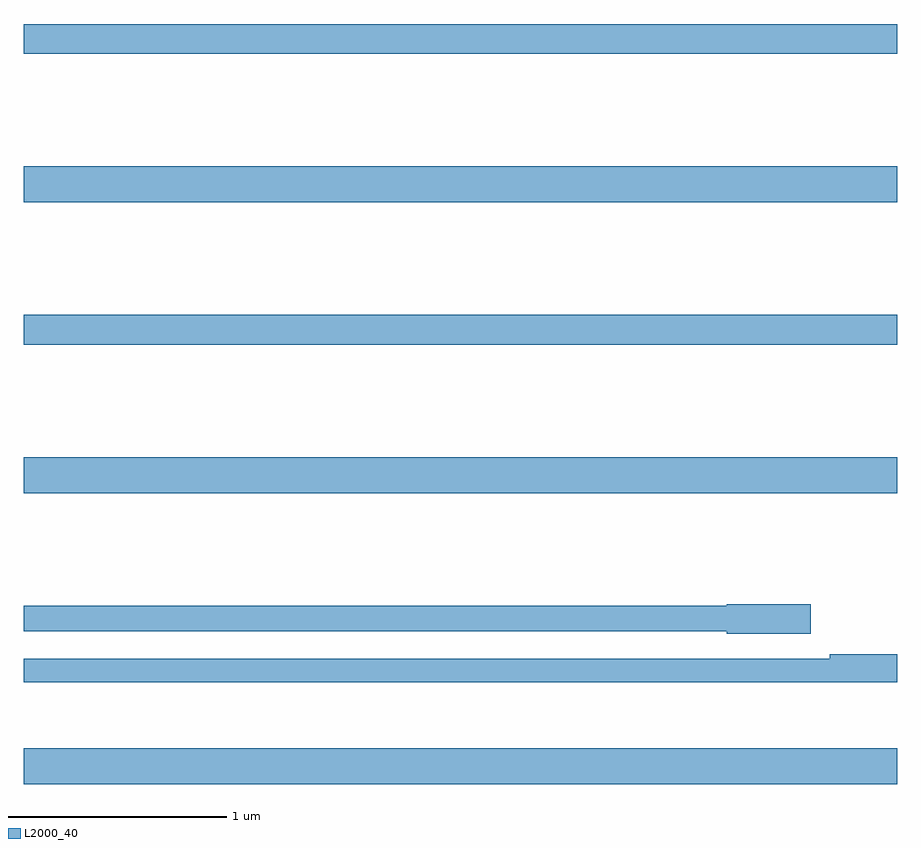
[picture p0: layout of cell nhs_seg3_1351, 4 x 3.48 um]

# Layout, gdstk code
import gdstk
lib = gdstk.Library(unit=1e-6, precision=1e-09)
def R(c, l, rs):  # rectangles x0, y0, x1, y1
    for r in rs: c.add(gdstk.rectangle(r[:2], r[2:], *l))
def A(c, l, x, y, w, h, nx, ny, dx, dy):  # array of equal rectangles
    R(c, l, [(x+i*dx, y+j*dy, x+i*dx+w, y+j*dy+h) for i in range(nx) for j in range(ny)])
def P(c, l, *ps):  # polygons
    for p in ps: c.add(gdstk.Polygon(p, *l))
L2000_40 = (2000, 40)

nhs_seg3_1351 = lib.new_cell('nhs_seg3_1351')
A(nhs_seg3_1351, L2000_40, 181, 696.92, 4, 0.164, 1, 3, 0, 1.332)
R(nhs_seg3_1351, L2000_40, [(181,698.932,185,699.068), (181,700.264,185,700.4)])
P(nhs_seg3_1351, L2000_40, [(184.603,697.742),(184.218,697.742),(184.218,697.736),(181,697.736),(181,697.62),(184.218,697.62),(184.218,697.607),(184.603,697.607)],
  [(185,697.514),(184.69,697.514),(184.69,697.494),(181,697.494),(181,697.386),(185,697.386)])

lib.write_gds('nhs_seg3_1351.gds')
